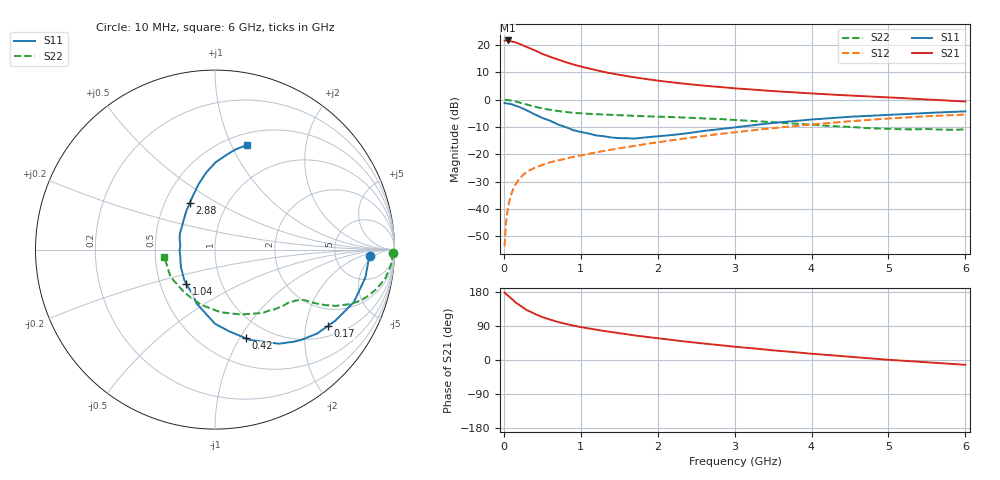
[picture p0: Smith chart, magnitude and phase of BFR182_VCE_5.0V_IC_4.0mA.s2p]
! Infineon Technologies  Discrete & RF Semiconductors
! BFR182
! VCE =  5.0 V,  IC =  4.0 mA
! Common Emitter S-Parameters:  Nov 2015
# GHz  S  MA  R  50
!  f  S11  S21  S12  S22
! GHz  MAG  ANG  MAG  ANG  MAG  ANG  MAG  ANG
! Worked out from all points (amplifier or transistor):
!   210 points, 10 MHz to 6 GHz, reference 50 ohm
!   highest |S21| = 21.6 dB at 50 MHz (marker M1)
!   |S21| within 3 dB of that: start of sweep to 351.5 MHz
!   unconditionally stable (mu >= 1): 1.209 GHz to 2.952 GHz
!   at 185 MHz: K = 0.28, MSG = 25.1 dB, |S12| = -29.6 dB
!   at 1.52 GHz: K = 1.05, MAG = 12.0 dB, |S12| = -17.7 dB
!   at 6 GHz: K = 0.88, MSG = 2.4 dB, |S12| = -5.5 dB
!   S11 on the Smith chart (normalised r, x): 10 MHz: 13, -3; 170 MHz: 1.33, -2.67; 420 MHz: 0.78, -1.06; 1.04 GHz: 0.68, -0.28; 2.88 GHz: 0.67, +0.38; 6 GHz: 0.62, +1.15
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0.01  0.863 -2.2  11.94 178.1  0.0021 90.9  0.9924 -1.0
0.03  0.8546 -6.2  12.02 174.1  0.0057 82.0  0.9879 -3.1
0.05  0.8522 -10.5  12.06 170.5  0.0098 83.6  0.9842 -5.0
0.1  0.8273 -20.7  11.56 161.9  0.0194 79.5  0.963 -9.5
0.15  0.7779 -30.7  11.2 152.2  0.0281 73.6  0.9267 -13.7
0.17  0.7591 -34.1  10.91 149.4  0.0309 72.1  0.9108 -15.0
0.22  0.7156 -42.6  10.22 142.2  0.038 68.5  0.873 -18.2
0.3  0.6341 -55.8  9.179 131.5  0.048 64.1  0.8126 -21.9
0.42  0.523 -70.8  7.752 120.2  0.058 60.4  0.7316 -25.3
0.5  0.4638 -79.9  6.846 113.2  0.064 58.8  0.6892 -26.7
0.6  0.4129 -90.1  6.059 106.5  0.0715 57.7  0.6507 -27.7
0.7  0.3533 -99.6  5.424 100.5  0.0772 57.6  0.6194 -28.5
0.86  0.2928 -113.3  4.575 92.6  0.0872 58.0  0.5829 -29.2
1.02  0.253 -127.7  3.959 86.2  0.0967 58.4  0.5593 -30.1
1.04  0.2497 -129.5  3.898 85.5  0.098 58.5  0.557 -30.3
1.4  0.2032 -161.3  3.005 73.6  0.1215 59.8  0.5263 -33.1
2.02  0.2158 154.2  2.205 56.8  0.168 59.8  0.4901 -40.0
2.88  0.2972 118.0  1.665 37.6  0.2422 56.3  0.4359 -54.1
3.1  0.3236 112.4  1.574 33.3  0.2626 54.6  0.4171 -58.7
4.1  0.4433 94.9  1.274 15.0  0.3612 45.4  0.3412 -88.2
5.1  0.5365 82.5  1.081 -0.7  0.4612 33.3  0.2898 -129.9
6  0.6106 72.8  0.924 -12.7  0.5336 20.4  0.285 -171.3
